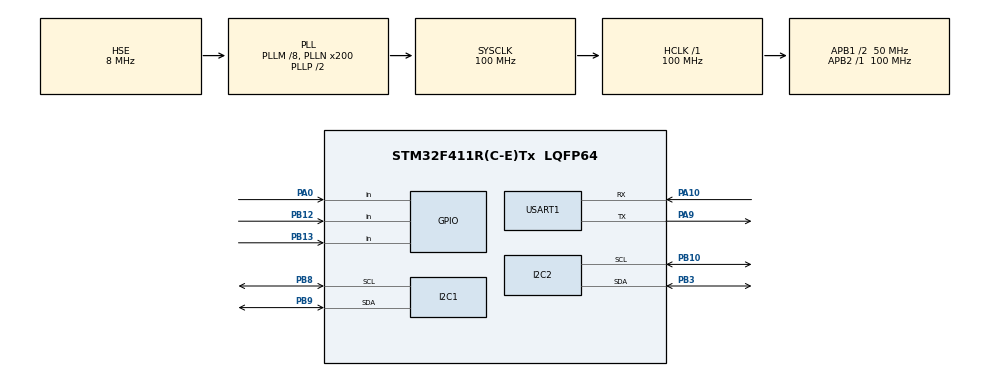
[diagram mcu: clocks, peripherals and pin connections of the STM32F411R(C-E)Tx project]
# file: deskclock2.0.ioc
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I2C2.I2C_Mode=I2C_Fast
Mcu.Family=STM32F4
Mcu.Name=STM32F411R(C-E)Tx
Mcu.Package=LQFP64
NVIC.PriorityGroup=NVIC_PRIORITYGROUP_4
NVIC.TIM1_UP_TIM10_IRQn=true\:0\:0\:false\:false\:true\:true\:true\:true
NVIC.USART1_IRQn=true\:0\:0\:false\:false\:true\:true\:true\:true
PA0-WKUP.GPIO_Mode=GPIO_MODE_INPUT
PA0-WKUP.GPIO_PuPd=GPIO_PULLUP
PA0-WKUP.Signal=GPIO_Input
PA10.Mode=Asynchronous
PA10.Signal=USART1_RX
PA13.Mode=Serial_Wire
PA13.Signal=SYS_JTMS-SWDIO
PA14.Mode=Serial_Wire
PA14.Signal=SYS_JTCK-SWCLK
PA9.Mode=Asynchronous
PA9.Signal=USART1_TX
PB10.Mode=I2C
PB10.Signal=I2C2_SCL
PB12.GPIO_Mode=GPIO_MODE_INPUT
PB12.GPIO_PuPd=GPIO_PULLUP
PB12.Signal=GPIO_Input
PB13.GPIO_Mode=GPIO_MODE_INPUT
PB13.GPIO_PuPd=GPIO_PULLUP
PB13.Signal=GPIO_Input
PB3.Mode=I2C
PB3.Signal=I2C2_SDA
PB8.Mode=I2C
PB8.Signal=I2C1_SCL
PB9.Mode=I2C
PB9.Signal=I2C1_SDA
PC14-OSC32_IN.Mode=LSE-External-Oscillator
PC14-OSC32_IN.Signal=RCC_OSC32_IN
PC15-OSC32_OUT.Mode=LSE-External-Oscillator
PC15-OSC32_OUT.Signal=RCC_OSC32_OUT
PH0\ -\ OSC_IN.Mode=HSE-External-Oscillator
PH0\ -\ OSC_IN.Signal=RCC_OSC_IN
PH1\ -\ OSC_OUT.Mode=HSE-External-Oscillator
PH1\ -\ OSC_OUT.Signal=RCC_OSC_OUT
ProjectManager.HeapSize=0x200
ProjectManager.StackSize=0x400
ProjectManager.TargetToolchain=MDK-ARM V5.32
RCC.48MHZClocksFreq_Value=50000000
RCC.AHBFreq_Value=100000000
RCC.APB1CLKDivider=RCC_HCLK_DIV2
RCC.APB1Freq_Value=50000000
RCC.APB1TimFreq_Value=100000000
RCC.APB2Freq_Value=100000000
RCC.APB2TimFreq_Value=100000000
RCC.CortexFreq_Value=100000000
RCC.HCLKFreq_Value=100000000
RCC.HSE_VALUE=8000000
RCC.HSI_VALUE=16000000
RCC.PLLM=8
RCC.PLLN=200
RCC.PLLSourceVirtual=RCC_PLLSOURCE_HSE
RCC.RCC_RTC_Clock_Source=RCC_RTCCLKSOURCE_LSE
RCC.RCC_RTC_Clock_SourceVirtual=RCC_RTCCLKSOURCE_LSE
RCC.SYSCLKFreq_VALUE=100000000
RCC.SYSCLKSource=RCC_SYSCLKSOURCE_PLLCLK
RCC.VCOOutputFreq_Value=200000000
RTC.Format=RTC_FORMAT_BCD
TIM1.Period=10000-1
TIM1.Prescaler=10000-1
USART1.VirtualMode=VM_ASYNC
VP_RTC_VS_RTC_Activate.Mode=RTC_Enabled
VP_RTC_VS_RTC_Calendar.Mode=RTC_Calendar
VP_TIM1_VS_ClockSourceINT.Mode=Internal
board=custom

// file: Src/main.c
/* USER CODE BEGIN Header */
/**
  ******************************************************************************
  * @file           : main.c
  * @brief          : Main program body
  ******************************************************************************
  * @attention
  *
  * Copyright (c) 2026 STMicroelectronics.
  * All rights reserved.
  *
  * This software is licensed under terms that can be found in the LICENSE file
  * in the root directory of this software component.
  * If no LICENSE file comes with this software, it is provided AS-IS.
  *
  ******************************************************************************
  */
/* USER CODE END Header */
#include "main.h"
#include "i2c.h"
#include "rtc.h"
#include "tim.h"
#include "usart.h"
#include "gpio.h"

/* USER CODE BEGIN Includes */
#include "app_main.h"
uint8_t mpu_init_ok;
extern RTC_HandleTypeDef hrtc;

uint32_t tick_now=0;
uint32_t key_timer=0;
/* USER CODE END Includes */

void SystemClock_Config(void);

int main(void)
{

  /* MCU Configuration--------------------------------------------------------*/

  /* Reset of all peripherals, Initializes the Flash interface and the Systick. */
  HAL_Init();

  /* Configure the system clock */
  SystemClock_Config();

  /* Initialize all configured peripherals */
  MX_GPIO_Init();
  MX_I2C1_Init();
  MX_I2C2_Init();
  MX_USART1_UART_Init();
  MX_RTC_Init();
  MX_TIM1_Init();
  /* USER CODE BEGIN 2 */
  EventQueue_Init(&ui_eventq);   /* UI data event queue */
	HAL_TIM_Base_Start_IT(&htim1);
	mpu_init_ok=MPU6050_Init();

	MPU6050_Config_Motion_Interrupt(5);
	Env_Sensors_Init();
	Flash_Read_Weather(&g_weather);
	if(g_weather.magic!=0xA5A5A5A8){
			memset(&g_weather, 0, sizeof(g_weather));
			strcpy(g_weather.city,"beijing");
			strcpy(g_weather.date[0],"2000-01-01");
			strcpy(g_weather.high[0],"30");
			strcpy(g_weather.low[0],"0");
			strcpy(g_weather.text_day[0],"rain");
			g_weather.magic=0xFF;
	}
	Flash_Read_WifiConfig(&wifi_flash_config);
	current_wifi_mode = (wifi_flash_config.magic == 0xABCD1234)? SYS_WIFI_MODE_STA : SYS_WIFI_MODE_IDLE;
	RTC_Restore_Date();
	OLED_Init();
	HAL_UART_Receive_IT(&huart1, &wifi_rx, 1);
	lv_init();
    lv_port_disp_init();
    HAL_Delay(100);          // 让按键引脚上拉充分稳定，电容充好电
    key_scan_enabled = 1;    // 初始化完成后再开始扫描按键
	ui_create();             // 创建全部LVGL界面（lv_init/lv_port_disp_init 之后）
  /* USER CODE END 2 */

  /* Infinite loop */
  /* USER CODE BEGIN WHILE */
  while (1)
  {
		tick_now=HAL_GetTick();
		sensor_run();
		Wifi_Task_Manager();
		LowPower_Try_Enter_Stop();
		Ringing_handling();
		main_run();
		UI_Show();
		lv_timer_handler();
    /* USER CODE END WHILE */

  }
}

void SystemClock_Config(void)
{
  RCC_OscInitTypeDef RCC_OscInitStruct = {0};
  RCC_ClkInitTypeDef RCC_ClkInitStruct = {0};

  /** Configure the main internal regulator output voltage
  */
  __HAL_RCC_PWR_CLK_ENABLE();
  __HAL_PWR_VOLTAGESCALING_CONFIG(PWR_REGULATOR_VOLTAGE_SCALE1);

  /** Initializes the RCC Oscillators according to the specified parameters
  * in the RCC_OscInitTypeDef structure.
  */
  RCC_OscInitStruct.OscillatorType = RCC_OSCILLATORTYPE_HSE|RCC_OSCILLATORTYPE_LSE;
  RCC_OscInitStruct.HSEState = RCC_HSE_ON;
  RCC_OscInitStruct.LSEState = RCC_LSE_ON;
  RCC_OscInitStruct.PLL.PLLState = RCC_PLL_ON;
  RCC_OscInitStruct.PLL.PLLSource = RCC_PLLSOURCE_HSE;
  RCC_OscInitStruct.PLL.PLLM = 8;
  RCC_OscInitStruct.PLL.PLLN = 200;
  RCC_OscInitStruct.PLL.PLLP = RCC_PLLP_DIV2;
  RCC_OscInitStruct.PLL.PLLQ = 4;
  if (HAL_RCC_OscConfig(&RCC_OscInitStruct) != HAL_OK)
  {
    Error_Handler();
  }

  /** Initializes the CPU, AHB and APB buses clocks
  */
  RCC_ClkInitStruct.ClockType = RCC_CLOCKTYPE_HCLK|RCC_CLOCKTYPE_SYSCLK
                              |RCC_CLOCKTYPE_PCLK1|RCC_CLOCKTYPE_PCLK2;
  RCC_ClkInitStruct.SYSCLKSource = RCC_SYSCLKSOURCE_PLLCLK;
  RCC_ClkInitStruct.AHBCLKDivider = RCC_SYSCLK_DIV1;
  RCC_ClkInitStruct.APB1CLKDivider = RCC_HCLK_DIV2;
  RCC_ClkInitStruct.APB2CLKDivider = RCC_HCLK_DIV1;

  if (HAL_RCC_ClockConfig(&RCC_ClkInitStruct, FLASH_LATENCY_3) != HAL_OK)
  {
    Error_Handler();
  }
}

void Error_Handler(void)
{
  __disable_irq();
  while (1)
  {
  }
}
